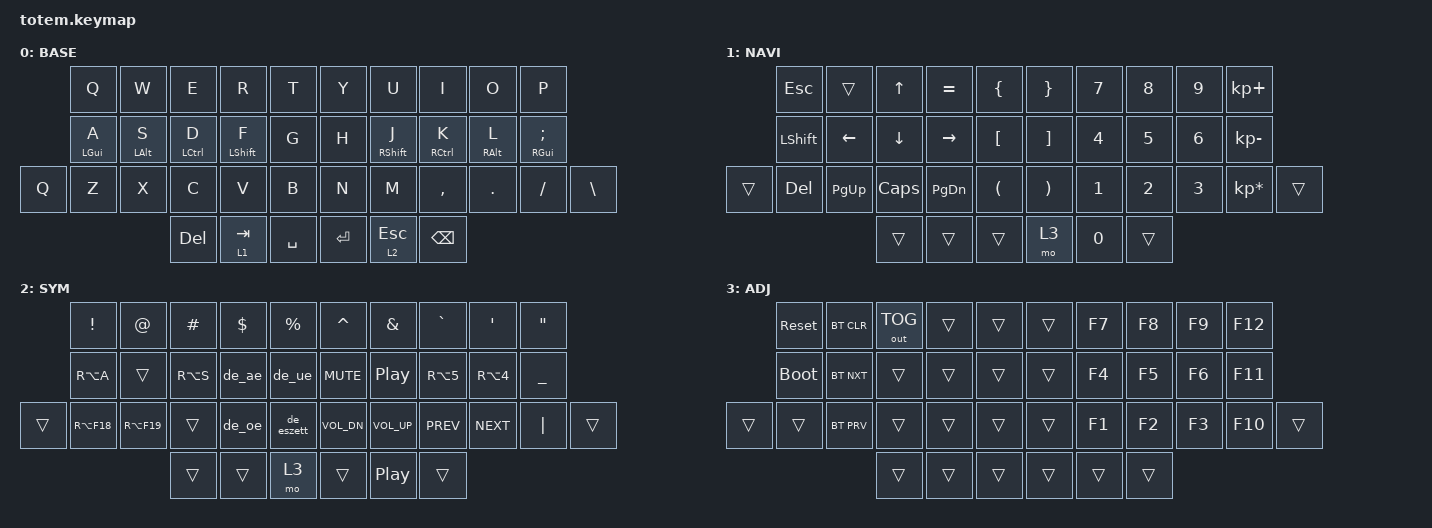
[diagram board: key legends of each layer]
//
//                                                        ▀▀▀▀▀     ▀▀▀▀▀          ▀▀█▀▀
//                                                        ▄▀▀▀▄  ▄  ▄▀▀▀▄  ▄  ▄▀▀▀▄  █  ▄▀▀▀▄
//                                                        █   █  █  █   █  █  █   █  █  █   █
//                                                         ▀▀▀   █   ▀▀▀   █   ▀▀▀   ▀   ▀▀▀
//                                                               █      ▄▄▄█▄▄▄    █   █  
//                                                               ▀      █  █  █     █▄█
//                                                             ▀▀▀▀▀    █  █  █      ▀
//                                                                      ▀  ▀  ▀
//
// ▄▄▄▄▄▄▄▄▄▄▄▄▄▄▄▄▄▄▄▄▄▄▄▄▄▄▄▄▄▄▄▄▄▄▄▄▄▄▄▄▄▄▄▄▄▄▄▄▄▄▄▄▄▄▄▄▄▄▄▄▄▄▄▄▄▄▄▄▄▄▄▄▄▄▄▄▄▄▄▄▄▄▄▄▄▄▄▄▄▄▄▄▄▄▄▄▄▄▄▄▄▄▄▄▄▄▄▄▄▄▄▄▄▄▄▄▄▄▄▄▄▄▄▄▄▄▄▄▄▄▄▄▄▄▄▄▄▄▄▄▄▄▄▄▄▄▄▄▄

#include <behaviors.dtsi>
#include <dt-bindings/zmk/bt.h>
#include <dt-bindings/zmk/keys.h>
#include <dt-bindings/zmk/outputs.h>

// zmk-nodefree-config for umlauts

#define HOST_OS 2  // macOS

#include "../zmk-nodefree-config/helper.h"
#include "../zmk-nodefree-config/international_chars/german.dtsi"

#define BASE 0
#define NAV  1
#define SYM  2
#define ADJ  3
#define TVP1 4
#define TVP2 5

&mt {
    quick-tap-ms = <100>;
    global-quick-tap;
    flavor = "tap-preferred";
    tapping-term-ms = <170>;
};

/ {
    combos {
        compatible = "zmk,combos";

        combo_esc {
            timeout-ms = <50>;
            key-positions = <0 1>;
            bindings = <&kp ESC>;
        };
    };

    keymap {
        compatible = "zmk,keymap";

        // ▄▄▄▄▄▄▄▄▄▄▄▄▄▄▄▄▄▄▄▄▄▄▄▄▄▄▄▄▄▄▄▄▄▄▄▄▄▄▄▄▄▄▄▄▄▄▄▄▄▄▄▄▄▄▄▄▄▄▄▄▄▄▄▄▄▄▄▄▄▄▄▄▄▄▄▄▄▄▄▄▄▄▄▄▄▄▄▄▄▄▄▄▄▄▄▄▄▄▄▄▄▄▄▄▄▄▄▄▄▄▄▄▄▄▄▄▄▄▄▄▄▄▄▄▄▄▄▄▄▄▄▄▄▄▄▄▄▄▄▄▄▄▄▄▄▄▄▄▄

        base_layer {
            // ┏━━━━━━━━━━━━━━━━━━━━━━━━━━━━━━━━━━━━━━━┓

            label = "BASE";

            // ┗━━━━━━━━━━━━━━━━━━━━━━━━━━━━━━━━━━━━━━━┛
            //             ┏━━━━━━━━━━━┳━━━━━━━━━━━┳━━━━━━━━━━━┳━━━━━━━━━━━┳━━━━━━━━━━━┓   ┏━━━━━━━━━━━┳━━━━━━━━━━━┳━━━━━━━━━━━┳━━━━━━━━━━━┳━━━━━━━━━━━┓
            //             ┃     Q     ┃     W     ┃     E     ┃     R     ┃     T     ┃   ┃     Y     ┃     U     ┃     I     ┃     O     ┃     P     ┃
            //             ┣━━━━━━━━━━━╋━━━━━━━━━━━╋━━━━━━━━━━━╋━━━━━━━━━━━╋━━━━━━━━━━━┫   ┣━━━━━━━━━━━╋━━━━━━━━━━━╋━━━━━━━━━━━╋━━━━━━━━━━━╋━━━━━━━━━━━┫
            //             ┃     A     ┃     S     ┃     D     ┃     F     ┃     G     ┃   ┃     H     ┃     J     ┃     K     ┃     L     ┃     ;     ┃
            // ┏━━━━━━━━━━━╋━━━━━━━━━━━╋━━━━━━━━━━━╋━━━━━━━━━━━╋━━━━━━━━━━━╋━━━━━━━━━━━┫   ┣━━━━━━━━━━━╋━━━━━━━━━━━╋━━━━━━━━━━━╋━━━━━━━━━━━╋━━━━━━━━━━━╋━━━━━━━━━━━┓
            // ┃     Q     ┃     Z     ┃     X     ┃     C     ┃     V     ┃     B     ┃   ┃     N     ┃     M     ┃     ,     ┃     .     ┃     /     ┃     \     ┃
            // ┗━━━━━━━━━━━┻━━━━━━━━━━━┻━━━━━━━━━━━╋━━━━━━━━━━━╋━━━━━━━━━━━╋━━━━━━━━━━━┫   ┣━━━━━━━━━━━╋━━━━━━━━━━━╋━━━━━━━━━━━╋━━━━━━━━━━━┻━━━━━━━━━━━┻━━━━━━━━━━━┛
            //                                     ┃    DEL    ┃    TAB    ┃    SPC    ┃   ┃   ENTER   ┃   ESC     ┃   BSPC    ┃
            //                                     ┗━━━━━━━━━━━┻━━━━━━━━━━━┻━━━━━━━━━━━┛   ┗━━━━━━━━━━━┻━━━━━━━━━━━┻━━━━━━━━━━━┛

            bindings = <
       &kp Q       &kp W       &kp E        &kp R        &kp T        &kp Y    &kp U        &kp I        &kp O       &kp P
       &mt LGUI A  &mt LALT S  &mt LCTRL D  &mt LSHFT F  &kp G        &kp H    &mt RSHFT J  &mt RCTRL K  &mt RALT L  &mt RGUI SEMI
&kp Q  &kp Z       &kp X       &kp C        &kp V        &kp B        &kp N    &kp M        &kp COMMA    &kp DOT     &kp FSLH       &kp BSLH
                               &kp DEL      &lt 1 TAB    &kp SPACE    &kp RET  &lt 2 ESC    &kp BSPC
            >;
        };

        // ▄▄▄▄▄▄▄▄▄▄▄▄▄▄▄▄▄▄▄▄▄▄▄▄▄▄▄▄▄▄▄▄▄▄▄▄▄▄▄▄▄▄▄▄▄▄▄▄▄▄▄▄▄▄▄▄▄▄▄▄▄▄▄▄▄▄▄▄▄▄▄▄▄▄▄▄▄▄▄▄▄▄▄▄▄▄▄▄▄▄▄▄▄▄▄▄▄▄▄▄▄▄▄▄▄▄▄▄▄▄▄▄▄▄▄▄▄▄▄▄▄▄▄▄▄▄▄▄▄▄▄▄▄▄▄▄▄▄▄▄▄▄▄▄▄▄▄▄▄

        nav_layer {
            // ┏━━━━━━━━━━━━━━━━━━━━━━━━━━━━━━━━━━━━━━━┓

            label = "NAVI";

            // ┗━━━━━━━━━━━━━━━━━━━━━━━━━━━━━━━━━━━━━━━┛
            //             ┏━━━━━━━━━━━┳━━━━━━━━━━━┳━━━━━━━━━━━┳━━━━━━━━━━━┳━━━━━━━━━━━┓   ┏━━━━━━━━━━━┳━━━━━━━━━━━┳━━━━━━━━━━━┳━━━━━━━━━━━┳━━━━━━━━━━━┓
            //             ┃           ┃           ┃     UP    ┃           ┃     {     ┃   ┃     }     ┃     7     ┃     8     ┃     9     ┃     +     ┃
            //             ┣━━━━━━━━━━━╋━━━━━━━━━━━╋━━━━━━━━━━━╋━━━━━━━━━━━╋━━━━━━━━━━━┫   ┣━━━━━━━━━━━╋━━━━━━━━━━━╋━━━━━━━━━━━╋━━━━━━━━━━━╋━━━━━━━━━━━┫
            //             ┃   SHIFT   ┃   LEFT    ┃    DOWN   ┃   RIGHT   ┃     [     ┃   ┃     ]     ┃     4     ┃     5     ┃     6     ┃     -     ┃
            // ┏━━━━━━━━━━━╋━━━━━━━━━━━╋━━━━━━━━━━━╋━━━━━━━━━━━╋━━━━━━━━━━━╋━━━━━━━━━━━┫   ┣━━━━━━━━━━━╋━━━━━━━━━━━╋━━━━━━━━━━━╋━━━━━━━━━━━╋━━━━━━━━━━━╋━━━━━━━━━━━┓
            // ┃           ┃           ┃   P UP    ┃  C LOCK   ┃  P DOWN   ┃     (     ┃   ┃     )     ┃     1     ┃     2     ┃     3     ┃     *     ┃           ┃
            // ┗━━━━━━━━━━━┻━━━━━━━━━━━┻━━━━━━━━━━━╋━━━━━━━━━━━╋━━━━━━━━━━━╋━━━━━━━━━━━┫   ┣━━━━━━━━━━━╋━━━━━━━━━━━╋━━━━━━━━━━━╋━━━━━━━━━━━┻━━━━━━━━━━━┻━━━━━━━━━━━┛
            //                                     ┃           ┃    TAB    ┃    SPC    ┃   ┃    DEL    ┃     0     ┃           ┃
            //                                     ┗━━━━━━━━━━━┻━━━━━━━━━━━┻━━━━━━━━━━━┛   ┗━━━━━━━━━━━┻━━━━━━━━━━━┻━━━━━━━━━━━┛

            bindings = <
        &kp ESC    &trans     &kp UP    &kp EQUAL  &kp LBRC    &kp RBRC  &kp N7  &kp N8  &kp N9  &kp KP_PLUS
        &kp LSHFT  &kp LEFT   &kp DOWN  &kp RIGHT  &kp LBKT    &kp RBKT  &kp N4  &kp N5  &kp N6  &kp KP_MINUS
&trans  &kp DEL    &kp PG_UP  &kp CAPS  &kp PG_DN  &kp LPAR    &kp RPAR  &kp N1  &kp N2  &kp N3  &kp KP_MULTIPLY  &trans
                              &trans    &trans     &trans      &mo 3     &kp N0  &trans
            >;
        };

        // ▄▄▄▄▄▄▄▄▄▄▄▄▄▄▄▄▄▄▄▄▄▄▄▄▄▄▄▄▄▄▄▄▄▄▄▄▄▄▄▄▄▄▄▄▄▄▄▄▄▄▄▄▄▄▄▄▄▄▄▄▄▄▄▄▄▄▄▄▄▄▄▄▄▄▄▄▄▄▄▄▄▄▄▄▄▄▄▄▄▄▄▄▄▄▄▄▄▄▄▄▄▄▄▄▄▄▄▄▄▄▄▄▄▄▄▄▄▄▄▄▄▄▄▄▄▄▄▄▄▄▄▄▄▄▄▄▄▄▄▄▄▄▄▄▄▄▄▄▄

        sim_layer {
            // ┏━━━━━━━━━━━━━━━━━━━━━━━━━━━━━━━━━━━━━━━┓

            label = "SYM";

            // ┗━━━━━━━━━━━━━━━━━━━━━━━━━━━━━━━━━━━━━━━┛
            //             ┏━━━━━━━━━━━┳━━━━━━━━━━━┳━━━━━━━━━━━┳━━━━━━━━━━━┳━━━━━━━━━━━┓   ┏━━━━━━━━━━━┳━━━━━━━━━━━┳━━━━━━━━━━━┳━━━━━━━━━━━┳━━━━━━━━━━━┓
            //             ┃     !     ┃     @     ┃     #     ┃     $     ┃     %     ┃   ┃     ˆ     ┃     &     ┃     Ü     ┃     '     ┃     "     ┃
            //             ┣━━━━━━━━━━━╋━━━━━━━━━━━╋━━━━━━━━━━━╋━━━━━━━━━━━╋━━━━━━━━━━━┫   ┣━━━━━━━━━━━╋━━━━━━━━━━━╋━━━━━━━━━━━╋━━━━━━━━━━━╋━━━━━━━━━━━┫
            //             ┃     Ä     ┃           ┃    SZ     ┃           ┃           ┃   ┃   MUTE    ┃   PLAY    ┃   EURO    ┃  POUND    ┃     Ö     ┃
            // ┏━━━━━━━━━━━╋━━━━━━━━━━━╋━━━━━━━━━━━╋━━━━━━━━━━━╋━━━━━━━━━━━╋━━━━━━━━━━━┫   ┣━━━━━━━━━━━╋━━━━━━━━━━━╋━━━━━━━━━━━╋━━━━━━━━━━━╋━━━━━━━━━━━╋━━━━━━━━━━━┓
            // ┃           ┃  EMAIL1   ┃  EMAIL2   ┃           ┃           ┃           ┃   ┃   VOL-    ┃   VOL+    ┃   LAST    ┃   NEXT    ┃     |     ┃           ┃
            // ┗━━━━━━━━━━━┻━━━━━━━━━━━┻━━━━━━━━━━━╋━━━━━━━━━━━╋━━━━━━━━━━━╋━━━━━━━━━━━┫   ┣━━━━━━━━━━━╋━━━━━━━━━━━╋━━━━━━━━━━━╋━━━━━━━━━━━┻━━━━━━━━━━━┻━━━━━━━━━━━┛
            //                                     ┃           ┃    GIF    ┃    ADJ    ┃   ┃           ┃           ┃           ┃
            //                                     ┗━━━━━━━━━━━┻━━━━━━━━━━━┻━━━━━━━━━━━┛   ┗━━━━━━━━━━━┻━━━━━━━━━━━┻━━━━━━━━━━━┛

            bindings = <
        &kp EXCL     &kp AT       &kp HASH   &kp DLLR  &kp PRCNT     &kp CARET     &kp AMPS      &kp GRAVE   &kp SQT     &kp DQT
        &kp RA(A)    &trans       &kp RA(S)  &de_ae    &de_ue        &kp C_MUTE    &kp C_PP      &kp RA(N5)  &kp RA(N4)  &kp UNDER
&trans  &kp RA(F18)  &kp RA(F19)  &trans     &de_oe    &de_eszett    &kp C_VOL_DN  &kp C_VOL_UP  &kp C_PREV  &kp C_NEXT  &kp PIPE   &trans
                                  &trans     &trans    &mo 3         &trans        &kp C_PP      &trans
            >;
        };

        // ▄▄▄▄▄▄▄▄▄▄▄▄▄▄▄▄▄▄▄▄▄▄▄▄▄▄▄▄▄▄▄▄▄▄▄▄▄▄▄▄▄▄▄▄▄▄▄▄▄▄▄▄▄▄▄▄▄▄▄▄▄▄▄▄▄▄▄▄▄▄▄▄▄▄▄▄▄▄▄▄▄▄▄▄▄▄▄▄▄▄▄▄▄▄▄▄▄▄▄▄▄▄▄▄▄▄▄▄▄▄▄▄▄▄▄▄▄▄▄▄▄▄▄▄▄▄▄▄▄▄▄▄▄▄▄▄▄▄▄▄▄▄▄▄▄▄▄▄▄

        adjust_layer {
            // ┏━━━━━━━━━━━━━━━━━━━━━━━━━━━━━━━━━━━━━━━┓

            label = "ADJ";

            // ┗━━━━━━━━━━━━━━━━━━━━━━━━━━━━━━━━━━━━━━━┛
            //             ┏━━━━━━━━━━━┳━━━━━━━━━━━┳━━━━━━━━━━━┳━━━━━━━━━━━┳━━━━━━━━━━━┓   ┏━━━━━━━━━━━┳━━━━━━━━━━━┳━━━━━━━━━━━┳━━━━━━━━━━━┳━━━━━━━━━━━┓
            //             ┃   RESET   ┃ BT CLEAR  ┃  OUT TOG  ┃           ┃           ┃   ┃           ┃    F7     ┃    F8     ┃    F9     ┃    F12    ┃
            //             ┣━━━━━━━━━━━╋━━━━━━━━━━━╋━━━━━━━━━━━╋━━━━━━━━━━━╋━━━━━━━━━━━┫   ┣━━━━━━━━━━━╋━━━━━━━━━━━╋━━━━━━━━━━━╋━━━━━━━━━━━╋━━━━━━━━━━━┫
            //             ┃ BOOTLOAD  ┃ BT NEXT   ┃           ┃           ┃           ┃   ┃           ┃    F4     ┃    F5     ┃    F6     ┃    F11    ┃
            // ┏━━━━━━━━━━━╋━━━━━━━━━━━╋━━━━━━━━━━━╋━━━━━━━━━━━╋━━━━━━━━━━━╋━━━━━━━━━━━┫   ┣━━━━━━━━━━━╋━━━━━━━━━━━╋━━━━━━━━━━━╋━━━━━━━━━━━╋━━━━━━━━━━━╋━━━━━━━━━━━┓
            // ┃           ┃           ┃ BT PREV   ┃           ┃           ┃           ┃   ┃           ┃    F1     ┃    F2     ┃    F3     ┃    F10    ┃           ┃
            // ┗━━━━━━━━━━━┻━━━━━━━━━━━┻━━━━━━━━━━━╋━━━━━━━━━━━╋━━━━━━━━━━━╋━━━━━━━━━━━┫   ┣━━━━━━━━━━━╋━━━━━━━━━━━╋━━━━━━━━━━━╋━━━━━━━━━━━┻━━━━━━━━━━━┻━━━━━━━━━━━┛
            //                                     ┃           ┃           ┃           ┃   ┃           ┃           ┃           ┃
            //                                     ┗━━━━━━━━━━━┻━━━━━━━━━━━┻━━━━━━━━━━━┛   ┗━━━━━━━━━━━┻━━━━━━━━━━━┻━━━━━━━━━━━┛

            bindings = <
        &sys_reset   &bt BT_CLR  &out OUT_TOG  &trans  &trans    &trans  &kp F7  &kp F8  &kp F9  &kp F12
        &bootloader  &bt BT_NXT  &trans        &trans  &trans    &trans  &kp F4  &kp F5  &kp F6  &kp F11
&trans  &trans       &bt BT_PRV  &trans        &trans  &trans    &trans  &kp F1  &kp F2  &kp F3  &kp F10  &trans
                                 &trans        &trans  &trans    &trans  &trans  &trans
            >;
        };

        // ▄▄▄▄▄▄▄▄▄▄▄▄▄▄▄▄▄▄▄▄▄▄▄▄▄▄▄▄▄▄▄▄▄▄▄▄▄▄▄▄▄▄▄▄▄▄▄▄▄▄▄▄▄▄▄▄▄▄▄▄▄▄▄▄▄▄▄▄▄▄▄▄▄▄▄▄▄▄▄▄▄▄▄▄▄▄▄▄▄▄▄▄▄▄▄▄▄▄▄▄▄▄▄▄▄▄▄▄▄▄▄▄▄▄▄▄▄▄▄▄▄▄▄▄▄▄▄▄▄▄▄▄▄▄▄▄▄▄▄▄▄▄▄▄▄▄▄▄▄
        // ▄▄▄▄▄▄▄▄▄▄▄▄▄▄▄▄▄▄▄▄▄▄▄▄▄▄▄▄▄▄▄▄▄▄▄▄▄▄▄▄▄▄▄▄▄▄▄▄▄▄▄▄▄▄▄▄▄▄▄▄▄▄▄▄▄▄▄▄▄▄▄▄▄▄▄▄▄▄▄▄▄▄▄▄▄▄▄▄▄▄▄▄▄▄▄▄▄▄▄▄▄▄▄▄▄▄▄▄▄▄▄▄▄▄▄▄▄▄▄▄▄▄▄▄▄▄▄▄▄▄▄▄▄▄▄▄▄▄▄▄▄▄▄▄▄▄▄▄▄
    };
};
